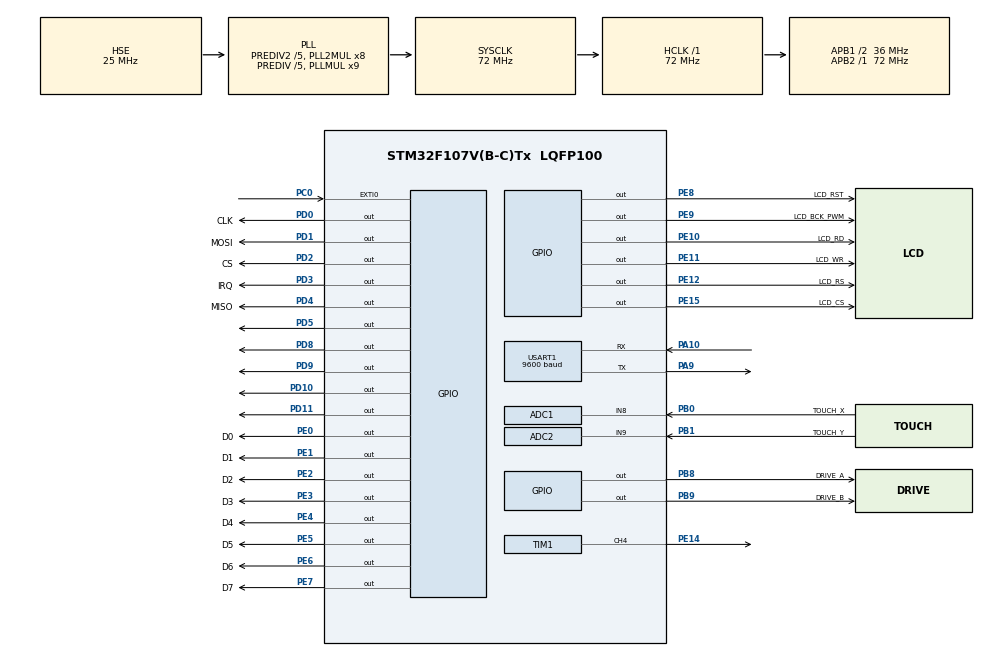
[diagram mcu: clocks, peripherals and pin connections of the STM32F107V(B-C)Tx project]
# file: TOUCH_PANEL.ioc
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ADC1.Channel-0\#ChannelRegularConversion=ADC_CHANNEL_8
ADC1.ExternalTrigConv=ADC_SOFTWARE_START
ADC1.InjNumberOfConversion=0
ADC1.NbrOfConversion=1
ADC1.NbrOfConversionFlag=1
ADC1.Rank-0\#ChannelRegularConversion=1
ADC1.SamplingTime-0\#ChannelRegularConversion=ADC_SAMPLETIME_1CYCLE_5
ADC1.master=1
ADC2.Channel-1\#ChannelRegularConversion=ADC_CHANNEL_9
ADC2.ExternalTrigConv=ADC_SOFTWARE_START
ADC2.NbrOfConversionFlag=1
ADC2.Rank-1\#ChannelRegularConversion=1
ADC2.SamplingTime-1\#ChannelRegularConversion=ADC_SAMPLETIME_1CYCLE_5
Mcu.Family=STM32F1
Mcu.Name=STM32F107V(B-C)Tx
Mcu.Package=LQFP100
NVIC.ADC1_2_IRQn=true\:0\:0\:false\:false\:true\:true\:true
NVIC.EXTI0_IRQn=true\:0\:0\:false\:false\:true\:true\:true
NVIC.PriorityGroup=NVIC_PRIORITYGROUP_4
NVIC.TIM6_IRQn=true\:0\:0\:false\:false\:true\:true\:true
NVIC.USART1_IRQn=true\:0\:0\:false\:false\:true\:true\:true
OSC_IN.Mode=HSE-External-Oscillator
OSC_IN.Signal=RCC_OSC_IN
OSC_OUT.Mode=HSE-External-Oscillator
OSC_OUT.Signal=RCC_OSC_OUT
PA10.Mode=Asynchronous
PA10.Signal=USART1_RX
PA13.Mode=Serial_Wire
PA13.Signal=SYS_JTMS-SWDIO
PA14.Mode=Serial_Wire
PA14.Signal=SYS_JTCK-SWCLK
PA9.Mode=Asynchronous
PA9.Signal=USART1_TX
PB0.GPIO_Label=TOUCH_X
PB0.Signal=ADCx_IN8
PB1.GPIO_Label=TOUCH_Y
PB1.Signal=ADCx_IN9
PB8.GPIO_Label=DRIVE_A
PB8.Signal=GPIO_Output
PB9.GPIO_Label=DRIVE_B
PB9.Signal=GPIO_Output
PC0.Signal=GPXTI0
PC14-OSC32_IN.Mode=LSE-External-Oscillator
PC14-OSC32_IN.Signal=RCC_OSC32_IN
PC15-OSC32_OUT.Mode=LSE-External-Oscillator
PC15-OSC32_OUT.Signal=RCC_OSC32_OUT
PD0.GPIO_Label=CLK
PD0.Signal=GPIO_Output
PD1.GPIO_Label=MOSI
PD1.Signal=GPIO_Output
PD10.Signal=GPIO_Output
PD11.Signal=GPIO_Output
PD2.GPIO_Label=CS
PD2.Signal=GPIO_Output
PD3.GPIO_Label=IRQ
PD3.Signal=GPIO_Output
PD4.GPIO_Label=MISO
PD4.Signal=GPIO_Output
PD5.Signal=GPIO_Output
PD8.Signal=GPIO_Output
PD9.Signal=GPIO_Output
PE0.GPIO_Label=D0
PE0.Signal=GPIO_Output
PE1.GPIO_Label=D1
PE1.Signal=GPIO_Output
PE10.GPIO_Label=LCD_RD
PE10.Signal=GPIO_Output
PE11.GPIO_Label=LCD_WR
PE11.Signal=GPIO_Output
PE12.GPIO_Label=LCD_RS
PE12.Signal=GPIO_Output
PE14.Signal=S_TIM1_CH4
PE15.GPIO_Label=LCD_CS
PE15.Signal=GPIO_Output
PE2.GPIO_Label=D2
PE2.Signal=GPIO_Output
PE3.GPIO_Label=D3
PE3.Signal=GPIO_Output
PE4.GPIO_Label=D4
PE4.Signal=GPIO_Output
PE5.GPIO_Label=D5
PE5.Signal=GPIO_Output
PE6.GPIO_Label=D6
PE6.Signal=GPIO_Output
PE7.GPIO_Label=D7
PE7.Signal=GPIO_Output
PE8.GPIO_Label=LCD_RST
PE8.Signal=GPIO_Output
PE9.GPIO_Label=LCD_BCK_PWM
PE9.Signal=GPIO_Output
ProjectManager.HeapSize=0x200
ProjectManager.StackSize=0x400
ProjectManager.TargetToolchain=MDK-ARM V5
RCC.ADCPresc=RCC_ADCPCLK2_DIV6
RCC.AHBFreq_Value=72000000
RCC.APB1CLKDivider=RCC_HCLK_DIV2
RCC.APB1Freq_Value=36000000
RCC.APB1TimFreq_Value=72000000
RCC.APB2Freq_Value=72000000
RCC.APB2TimFreq_Value=72000000
RCC.HCLKFreq_Value=72000000
RCC.HSEDivPLL=RCC_HSE_PREDIV_DIV5
RCC.HSE_VALUE=25000000
RCC.PLLMUL=RCC_PLL_MUL9
RCC.PLLSourceVirtual=RCC_PLLSOURCE_HSE
RCC.Prediv1Source=RCC_PREDIV1_SOURCE_PLL2
RCC.Prediv2=RCC_HSE_PREDIV2_DIV5
RCC.SYSCLKFreq_VALUE=72000000
RCC.SYSCLKSource=RCC_SYSCLKSOURCE_PLLCLK
RCC.USBFreq_Value=48000000
SH.ADCx_IN8.0=ADC1_IN8,IN8
SH.ADCx_IN9.0=ADC2_IN9,IN9
SH.S_TIM1_CH4.0=TIM1_CH4,PWM Generation4 CH4
TIM1.Channel-PWM\ Generation4\ CH4=TIM_CHANNEL_4
TIM1.Period=0xFFFF
TIM1.Prescaler=21
TIM1.Pulse-PWM\ Generation4\ CH4=50
TIM6.Period=65535
TIM6.Prescaler=15
USART1.BaudRate=9600
USART1.VirtualMode=VM_ASYNC
VP_TIM6_VS_ClockSourceINT.Mode=Enable_Timer
board=custom

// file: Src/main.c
/* USER CODE BEGIN Header */
/**
  ******************************************************************************
  * @file           : main.c
  * @brief          : Main program body
  ******************************************************************************
  * @attention
  *
  * <h2><center>&copy; Copyright (c) 2019 STMicroelectronics.
  * All rights reserved.</center></h2>
  *
  * This software component is licensed by ST under BSD 3-Clause license,
  * the "License"; You may not use this file except in compliance with the
  * License. You may obtain a copy of the License at:
  *                        opensource.org/licenses/BSD-3-Clause
  *
  ******************************************************************************
  */
/* USER CODE END Header */

#include "main.h"

/* USER CODE BEGIN Includes */
#include "touch.h"
#include <math.h>
#include "ILI9341_STM32_Driver.h"
#include "ILI9341_GFX.h"
#include <string.h>
#include <stdio.h>
#include <stdlib.h>

/* USER CODE END Includes */

/* USER CODE BEGIN PD */
uint32_t coor_x = 0;
uint32_t coor_y = 0;

/* USER CODE END PD */

ADC_HandleTypeDef hadc1;
ADC_HandleTypeDef hadc2;

TIM_HandleTypeDef htim1;
TIM_HandleTypeDef htim6;

UART_HandleTypeDef huart1;

/* USER CODE BEGIN PV */
uint8_t mode = 0;
int8_t path[100];
//	0 -> none
//	1 -> forward
//	2 -> backward
//	3 -> left
//  4 -> right
int counter = 0;

int distance = 0;

uint16_t arr = 1000;

/* USER CODE END PV */

void SystemClock_Config(void);
static void MX_GPIO_Init(void);
static void MX_ADC1_Init(void);
static void MX_ADC2_Init(void);
static void MX_TIM1_Init(void);
static void MX_TIM6_Init(void);
static void MX_USART1_UART_Init(void);

/* USER CODE BEGIN 0 */
void EASYMX_BOARD_TOUCH_CmpltCallback(uint32_t x, uint32_t y){
	if (x >= 50 && y >= 50 ) {
		coor_x = x;
		coor_y = y;
	} else {
		coor_x = 0;
		coor_y = 0;

		HAL_GPIO_WritePin(GPIOD, GPIO_PIN_8, GPIO_PIN_RESET);
		HAL_GPIO_WritePin(GPIOD, GPIO_PIN_9, GPIO_PIN_RESET);
		HAL_GPIO_WritePin(GPIOD, GPIO_PIN_10, GPIO_PIN_RESET);
		HAL_GPIO_WritePin(GPIOD, GPIO_PIN_11, GPIO_PIN_RESET);
	}
}

void goForward(void) {
		HAL_GPIO_WritePin(GPIOD, GPIO_PIN_8, GPIO_PIN_SET);
		HAL_GPIO_WritePin(GPIOD, GPIO_PIN_9, GPIO_PIN_RESET);
		HAL_GPIO_WritePin(GPIOD, GPIO_PIN_10, GPIO_PIN_SET);
		HAL_GPIO_WritePin(GPIOD, GPIO_PIN_11, GPIO_PIN_RESET);
		distance++;
		HAL_Delay(40);

}

void goBackward(void) {

		HAL_GPIO_WritePin(GPIOD, GPIO_PIN_8, GPIO_PIN_RESET);
		HAL_GPIO_WritePin(GPIOD, GPIO_PIN_9, GPIO_PIN_SET);
		HAL_GPIO_WritePin(GPIOD, GPIO_PIN_10, GPIO_PIN_RESET);
		HAL_GPIO_WritePin(GPIOD, GPIO_PIN_11, GPIO_PIN_SET);
		distance++;
		__HAL_TIM_SET_AUTORELOAD(&htim1, arr);//set the new period
		__HAL_TIM_SET_COMPARE(&htim1, TIM_CHANNEL_4, (int)arr/2);//keep 50% duty cycle

		HAL_Delay(40);
		__HAL_TIM_SET_COMPARE(&htim1, TIM_CHANNEL_4, 0);
}

void goLeft(void) {
		HAL_GPIO_WritePin(GPIOD, GPIO_PIN_8, GPIO_PIN_SET);
		HAL_GPIO_WritePin(GPIOD, GPIO_PIN_9, GPIO_PIN_RESET);
		HAL_GPIO_WritePin(GPIOD, GPIO_PIN_10, GPIO_PIN_RESET);
		HAL_GPIO_WritePin(GPIOD, GPIO_PIN_11, GPIO_PIN_SET);

		HAL_Delay(40);
}

void goRight(void) {

		HAL_GPIO_WritePin(GPIOD, GPIO_PIN_8, GPIO_PIN_RESET);
		HAL_GPIO_WritePin(GPIOD, GPIO_PIN_9, GPIO_PIN_SET);
		HAL_GPIO_WritePin(GPIOD, GPIO_PIN_10, GPIO_PIN_SET);
		HAL_GPIO_WritePin(GPIOD, GPIO_PIN_11, GPIO_PIN_RESET);

		HAL_Delay(40);

}

//char * toArray(int number)
//    {
//        int n = log10(number) + 1;
//        int i;
//      char *numberArray = calloc(n, sizeof(char));
//        for ( i = 0; i < n; ++i, number /= 10 )
//        {
//            numberArray[i] = (number % 10) + '0';
//        }
//        return numberArray;
//    }

/* USER CODE END 0 */

int main(void)
{

  /* MCU Configuration--------------------------------------------------------*/

  /* Reset of all peripherals, Initializes the Flash interface and the Systick. */
  HAL_Init();

  /* Configure the system clock */
  SystemClock_Config();

  /* Initialize all configured peripherals */
  MX_GPIO_Init();
  MX_ADC1_Init();
  MX_ADC2_Init();
  MX_TIM1_Init();
  MX_TIM6_Init();
  MX_USART1_UART_Init();
  /* USER CODE BEGIN 2 */
	EASYMX_BOARD_TOUCH_Init(&hadc1, &hadc2, &htim6);
	EASYMX_BOARD_TOUCH_Start();
	HAL_TIM_PWM_Start(&htim1,TIM_CHANNEL_4);
	ILI9341_Init();
  /* USER CODE END 2 */

  /* Infinite loop */
  /* USER CODE BEGIN WHILE */
		ILI9341_Fill_Screen(WHITE);
		ILI9341_Set_Rotation(SCREEN_HORIZONTAL_1);

		ILI9341_Draw_Hollow_Rectangle_Coord(110, 10, 210, 75, RED );
		ILI9341_Draw_Hollow_Rectangle_Coord(110, 160, 210, 225, RED );

		ILI9341_Draw_Hollow_Rectangle_Coord(10, 80, 90, 160, RED );
		ILI9341_Draw_Hollow_Rectangle_Coord(230, 80, 310, 160, RED );

	uint8_t pDataReceivedByte[] = "_";

		for( int i = 0; i < 100; i++ ){
			path[i] = 0;
		}

	while (1){

			int numberToTransmit = distance;
			uint8_t pDataTransmit[] = "Distance: 00000\r\n";
			int toPut = 14;
			while(numberToTransmit != 0){
				int digit = numberToTransmit % 10;
				pDataTransmit[toPut] = digit + (int)'0';
				numberToTransmit -= digit;
				numberToTransmit /= 10;
				toPut--;
			}

			char text[5];
			sprintf(text, "%d", distance);

			HAL_UART_Transmit_IT(&huart1, pDataTransmit, 17);
			ILI9341_Draw_Text(text, 150, 100, BLACK, 2, WHITE);
			if (mode == 0){

				for( int i = 0; i < counter; i++ ){
					int time = 0;
					switch (path[i]) {
						case 1:
								while (time < 10 ) {
									goForward();
									time++;
								}
								HAL_Delay(500);
								break;
						case 2:
								while (time < 10 ) {
									goBackward();
									time++;
								}
								HAL_Delay(500);
								break;
						case 3:
								while (time < 5 ) {
									goLeft();
									time++;
								}
								HAL_Delay(500);
								break;
						case 4:
								while (time < 5 ) {
									goRight();
									time++;
								}
								HAL_Delay(500);
								break;
					}
					HAL_GPIO_WritePin(GPIOD, GPIO_PIN_8, GPIO_PIN_RESET);
					HAL_GPIO_WritePin(GPIOD, GPIO_PIN_9, GPIO_PIN_RESET);
					HAL_GPIO_WritePin(GPIOD, GPIO_PIN_10, GPIO_PIN_RESET);
					HAL_GPIO_WritePin(GPIOD, GPIO_PIN_11, GPIO_PIN_RESET);
					path[i] = 0;
				}
				counter = 0;
			}

		HAL_UART_Receive_IT(&huart1, pDataReceivedByte, 1);

		if ( (coor_x >= 1400 && coor_x <= 2400) || pDataReceivedByte[0] == 'w' || pDataReceivedByte[0] == 's' ) {

				if ((coor_y >= 300 && coor_y <= 1350) || pDataReceivedByte[0] == 's' ) {
							ILI9341_Draw_Filled_Rectangle_Coord(230, 80, 310, 160, RED);
					if(!mode) {
							goBackward();
						} else {
							path[counter] = 2;
							counter++;
							__HAL_TIM_SET_AUTORELOAD(&htim1, arr);//set the new period
							__HAL_TIM_SET_COMPARE(&htim1, TIM_CHANNEL_4, (int)arr/2);//keep 50% duty cycle
							HAL_Delay(800);
							__HAL_TIM_SET_COMPARE(&htim1, TIM_CHANNEL_4, 0);
						}
				} else if ( coor_y >= 2800  || pDataReceivedByte[0] == 'w' ) {
							ILI9341_Draw_Filled_Rectangle_Coord(10, 80, 90, 160, RED);
					if(!mode) {
							goForward();
						} else {
							path[counter] = 1;
							counter++;
							__HAL_TIM_SET_AUTORELOAD(&htim1, arr);//set the new period
							__HAL_TIM_SET_COMPARE(&htim1, TIM_CHANNEL_4, (int)arr/2);//keep 50% duty cycle
							HAL_Delay(800);
							__HAL_TIM_SET_COMPARE(&htim1, TIM_CHANNEL_4, 0);
						}
				}
		}

		if ( (coor_y >= 1450 && coor_y <= 2700 ) || pDataReceivedByte[0] == 'a' || pDataReceivedByte[0] == 'd') {

				if ((coor_x >= 300 && coor_x <= 1300) || pDataReceivedByte[0] == 'a'  ) {				// TURN LEFT
						ILI9341_Draw_Filled_Rectangle_Coord(110, 160, 210, 225, RED );
						if(!mode) {
							goLeft();
						} else {
							path[counter] = 3;
							counter++;
							__HAL_TIM_SET_AUTORELOAD(&htim1, arr);//set the new period
							__HAL_TIM_SET_COMPARE(&htim1, TIM_CHANNEL_4, (int)arr/2);//keep 50% duty cycle
							HAL_Delay(800);
							__HAL_TIM_SET_COMPARE(&htim1, TIM_CHANNEL_4, 0);
						}

				} else if ( coor_x >= 2500 || pDataReceivedByte[0] == 'd'  ) {
						ILI9341_Draw_Filled_Rectangle_Coord(110, 10, 210, 75, RED );

						if(!mode) {
							goRight();
						} else {
							path[counter] = 4;
							counter++;
							__HAL_TIM_SET_AUTORELOAD(&htim1, arr);//set the new period
							__HAL_TIM_SET_COMPARE(&htim1, TIM_CHANNEL_4, (int)arr/2);//keep 50% duty cycle
							HAL_Delay(800);
							__HAL_TIM_SET_COMPARE(&htim1, TIM_CHANNEL_4, 0);
						}
				}
		}

		ILI9341_Draw_Filled_Rectangle_Coord(111, 11, 209, 74, WHITE );
		ILI9341_Draw_Filled_Rectangle_Coord(111, 161, 209, 224, WHITE);

		ILI9341_Draw_Filled_Rectangle_Coord(11, 81, 89, 159, WHITE );
		ILI9341_Draw_Filled_Rectangle_Coord(231, 81, 309, 159, WHITE );

		__HAL_TIM_SET_COMPARE(&htim1, TIM_CHANNEL_4, 0);
		pDataReceivedByte[0] = '_';
    /* USER CODE END WHILE */

  }
}

void SystemClock_Config(void)
{
  RCC_OscInitTypeDef RCC_OscInitStruct = {0};
  RCC_ClkInitTypeDef RCC_ClkInitStruct = {0};
  RCC_PeriphCLKInitTypeDef PeriphClkInit = {0};

  /** Initializes the CPU, AHB and APB busses clocks
  */
  RCC_OscInitStruct.OscillatorType = RCC_OSCILLATORTYPE_HSE;
  RCC_OscInitStruct.HSEState = RCC_HSE_ON;
  RCC_OscInitStruct.HSEPredivValue = RCC_HSE_PREDIV_DIV5;
  RCC_OscInitStruct.HSIState = RCC_HSI_ON;
  RCC_OscInitStruct.Prediv1Source = RCC_PREDIV1_SOURCE_PLL2;
  RCC_OscInitStruct.PLL.PLLState = RCC_PLL_ON;
  RCC_OscInitStruct.PLL.PLLSource = RCC_PLLSOURCE_HSE;
  RCC_OscInitStruct.PLL.PLLMUL = RCC_PLL_MUL9;
  RCC_OscInitStruct.PLL2.PLL2State = RCC_PLL2_ON;
  RCC_OscInitStruct.PLL2.PLL2MUL = RCC_PLL2_MUL8;
  RCC_OscInitStruct.PLL2.HSEPrediv2Value = RCC_HSE_PREDIV2_DIV5;
  if (HAL_RCC_OscConfig(&RCC_OscInitStruct) != HAL_OK)
  {
    Error_Handler();
  }
  /** Initializes the CPU, AHB and APB busses clocks
  */
  RCC_ClkInitStruct.ClockType = RCC_CLOCKTYPE_HCLK|RCC_CLOCKTYPE_SYSCLK
                              |RCC_CLOCKTYPE_PCLK1|RCC_CLOCKTYPE_PCLK2;
  RCC_ClkInitStruct.SYSCLKSource = RCC_SYSCLKSOURCE_PLLCLK;
  RCC_ClkInitStruct.AHBCLKDivider = RCC_SYSCLK_DIV1;
  RCC_ClkInitStruct.APB1CLKDivider = RCC_HCLK_DIV2;
  RCC_ClkInitStruct.APB2CLKDivider = RCC_HCLK_DIV1;

  if (HAL_RCC_ClockConfig(&RCC_ClkInitStruct, FLASH_LATENCY_2) != HAL_OK)
  {
    Error_Handler();
  }
  PeriphClkInit.PeriphClockSelection = RCC_PERIPHCLK_ADC;
  PeriphClkInit.AdcClockSelection = RCC_ADCPCLK2_DIV6;
  if (HAL_RCCEx_PeriphCLKConfig(&PeriphClkInit) != HAL_OK)
  {
    Error_Handler();
  }
  /** Configure the Systick interrupt time
  */
  __HAL_RCC_PLLI2S_ENABLE();
}

static void MX_ADC1_Init(void)
{

  ADC_ChannelConfTypeDef sConfig = {0};

  /** Common config
  */
  hadc1.Instance = ADC1;
  hadc1.Init.ScanConvMode = ADC_SCAN_DISABLE;
  hadc1.Init.ContinuousConvMode = DISABLE;
  hadc1.Init.DiscontinuousConvMode = DISABLE;
  hadc1.Init.ExternalTrigConv = ADC_SOFTWARE_START;
  hadc1.Init.DataAlign = ADC_DATAALIGN_RIGHT;
  hadc1.Init.NbrOfConversion = 1;
  if (HAL_ADC_Init(&hadc1) != HAL_OK)
  {
    Error_Handler();
  }
  /** Configure Regular Channel
  */
  sConfig.Channel = ADC_CHANNEL_8;
  sConfig.Rank = ADC_REGULAR_RANK_1;
  sConfig.SamplingTime = ADC_SAMPLETIME_1CYCLE_5;
  if (HAL_ADC_ConfigChannel(&hadc1, &sConfig) != HAL_OK)
  {
    Error_Handler();
  }

}

static void MX_ADC2_Init(void)
{

  ADC_ChannelConfTypeDef sConfig = {0};

  /** Common config
  */
  hadc2.Instance = ADC2;
  hadc2.Init.ScanConvMode = ADC_SCAN_DISABLE;
  hadc2.Init.ContinuousConvMode = DISABLE;
  hadc2.Init.DiscontinuousConvMode = DISABLE;
  hadc2.Init.ExternalTrigConv = ADC_SOFTWARE_START;
  hadc2.Init.DataAlign = ADC_DATAALIGN_RIGHT;
  hadc2.Init.NbrOfConversion = 1;
  if (HAL_ADC_Init(&hadc2) != HAL_OK)
  {
    Error_Handler();
  }
  /** Configure Regular Channel
  */
  sConfig.Channel = ADC_CHANNEL_9;
  sConfig.Rank = ADC_REGULAR_RANK_1;
  sConfig.SamplingTime = ADC_SAMPLETIME_1CYCLE_5;
  if (HAL_ADC_ConfigChannel(&hadc2, &sConfig) != HAL_OK)
  {
    Error_Handler();
  }

}

static void MX_TIM1_Init(void)
{

  TIM_MasterConfigTypeDef sMasterConfig = {0};
  TIM_OC_InitTypeDef sConfigOC = {0};
  TIM_BreakDeadTimeConfigTypeDef sBreakDeadTimeConfig = {0};

  htim1.Instance = TIM1;
  htim1.Init.Prescaler = 21;
  htim1.Init.CounterMode = TIM_COUNTERMODE_UP;
  htim1.Init.Period = 0xFFFF;
  htim1.Init.ClockDivision = TIM_CLOCKDIVISION_DIV1;
  htim1.Init.RepetitionCounter = 0;
  htim1.Init.AutoReloadPreload = TIM_AUTORELOAD_PRELOAD_DISABLE;
  if (HAL_TIM_PWM_Init(&htim1) != HAL_OK)
  {
    Error_Handler();
  }
  sMasterConfig.MasterOutputTrigger = TIM_TRGO_RESET;
  sMasterConfig.MasterSlaveMode = TIM_MASTERSLAVEMODE_DISABLE;
  if (HAL_TIMEx_MasterConfigSynchronization(&htim1, &sMasterConfig) != HAL_OK)
  {
    Error_Handler();
  }
  sConfigOC.OCMode = TIM_OCMODE_PWM1;
  sConfigOC.Pulse = 50;
  sConfigOC.OCPolarity = TIM_OCPOLARITY_HIGH;
  sConfigOC.OCFastMode = TIM_OCFAST_DISABLE;
  sConfigOC.OCIdleState = TIM_OCIDLESTATE_RESET;
  sConfigOC.OCNIdleState = TIM_OCNIDLESTATE_RESET;
  if (HAL_TIM_PWM_ConfigChannel(&htim1, &sConfigOC, TIM_CHANNEL_4) != HAL_OK)
  {
    Error_Handler();
  }
  sBreakDeadTimeConfig.OffStateRunMode = TIM_OSSR_DISABLE;
  sBreakDeadTimeConfig.OffStateIDLEMode = TIM_OSSI_DISABLE;
  sBreakDeadTimeConfig.LockLevel = TIM_LOCKLEVEL_OFF;
  sBreakDeadTimeConfig.DeadTime = 0;
  sBreakDeadTimeConfig.BreakState = TIM_BREAK_DISABLE;
  sBreakDeadTimeConfig.BreakPolarity = TIM_BREAKPOLARITY_HIGH;
  sBreakDeadTimeConfig.AutomaticOutput = TIM_AUTOMATICOUTPUT_DISABLE;
  if (HAL_TIMEx_ConfigBreakDeadTime(&htim1, &sBreakDeadTimeConfig) != HAL_OK)
  {
    Error_Handler();
  }
  HAL_TIM_MspPostInit(&htim1);

}

static void MX_TIM6_Init(void)
{

  TIM_MasterConfigTypeDef sMasterConfig = {0};

  htim6.Instance = TIM6;
  htim6.Init.Prescaler = 15;
  htim6.Init.CounterMode = TIM_COUNTERMODE_UP;
  htim6.Init.Period = 65535;
  htim6.Init.AutoReloadPreload = TIM_AUTORELOAD_PRELOAD_DISABLE;
  if (HAL_TIM_Base_Init(&htim6) != HAL_OK)
  {
    Error_Handler();
  }
  sMasterConfig.MasterOutputTrigger = TIM_TRGO_RESET;
  sMasterConfig.MasterSlaveMode = TIM_MASTERSLAVEMODE_DISABLE;
  if (HAL_TIMEx_MasterConfigSynchronization(&htim6, &sMasterConfig) != HAL_OK)
  {
    Error_Handler();
  }

}

static void MX_USART1_UART_Init(void)
{

  huart1.Instance = USART1;
  huart1.Init.BaudRate = 115200;
  huart1.Init.WordLength = UART_WORDLENGTH_8B;
  huart1.Init.StopBits = UART_STOPBITS_1;
  huart1.Init.Parity = UART_PARITY_NONE;
  huart1.Init.Mode = UART_MODE_TX_RX;
  huart1.Init.HwFlowCtl = UART_HWCONTROL_NONE;
  huart1.Init.OverSampling = UART_OVERSAMPLING_16;
  if (HAL_UART_Init(&huart1) != HAL_OK)
  {
    Error_Handler();
  }

}

static void MX_GPIO_Init(void)
{
  GPIO_InitTypeDef GPIO_InitStruct = {0};

  /* GPIO Ports Clock Enable */
  __HAL_RCC_GPIOE_CLK_ENABLE();
  __HAL_RCC_GPIOC_CLK_ENABLE();
  __HAL_RCC_GPIOB_CLK_ENABLE();
  __HAL_RCC_GPIOD_CLK_ENABLE();
  __HAL_RCC_GPIOA_CLK_ENABLE();

  /*Configure GPIO pin Output Level */
  HAL_GPIO_WritePin(GPIOE, D2_Pin|D3_Pin|D4_Pin|D5_Pin
                          |D6_Pin|D7_Pin|LCD_RST_Pin|LCD_BCK_PWM_Pin
                          |LCD_RD_Pin|LCD_WR_Pin|LCD_RS_Pin|LCD_CS_Pin
                          |D0_Pin|D1_Pin, GPIO_PIN_RESET);

  /*Configure GPIO pin Output Level */
  HAL_GPIO_WritePin(GPIOD, GPIO_PIN_8|GPIO_PIN_9|GPIO_PIN_10|GPIO_PIN_11
                          |CLK_Pin|MOSI_Pin|CS_Pin|IRQ_Pin
                          |MISO_Pin|GPIO_PIN_5, GPIO_PIN_RESET);

  /*Configure GPIO pin Output Level */
  HAL_GPIO_WritePin(GPIOB, DRIVE_A_Pin|DRIVE_B_Pin, GPIO_PIN_RESET);

  /*Configure GPIO pins : D2_Pin D3_Pin D4_Pin D5_Pin
                           D6_Pin D7_Pin LCD_RST_Pin LCD_BCK_PWM_Pin
                           LCD_RD_Pin LCD_WR_Pin LCD_RS_Pin LCD_CS_Pin
                           D0_Pin D1_Pin */
  GPIO_InitStruct.Pin = D2_Pin|D3_Pin|D4_Pin|D5_Pin
                          |D6_Pin|D7_Pin|LCD_RST_Pin|LCD_BCK_PWM_Pin
                          |LCD_RD_Pin|LCD_WR_Pin|LCD_RS_Pin|LCD_CS_Pin
                          |D0_Pin|D1_Pin;
  GPIO_InitStruct.Mode = GPIO_MODE_OUTPUT_PP;
  GPIO_InitStruct.Pull = GPIO_NOPULL;
  GPIO_InitStruct.Speed = GPIO_SPEED_FREQ_LOW;
  HAL_GPIO_Init(GPIOE, &GPIO_InitStruct);

  /*Configure GPIO pin : PC0 */
  GPIO_InitStruct.Pin = GPIO_PIN_0;
  GPIO_InitStruct.Mode = GPIO_MODE_IT_RISING;
  GPIO_InitStruct.Pull = GPIO_NOPULL;
  HAL_GPIO_Init(GPIOC, &GPIO_InitStruct);

  /*Configure GPIO pins : PD8 PD9 PD10 PD11
                           CLK_Pin MOSI_Pin CS_Pin IRQ_Pin
                           MISO_Pin PD5 */
  GPIO_InitStruct.Pin = GPIO_PIN_8|GPIO_PIN_9|GPIO_PIN_10|GPIO_PIN_11
                          |CLK_Pin|MOSI_Pin|CS_Pin|IRQ_Pin
                          |MISO_Pin|GPIO_PIN_5;
  GPIO_InitStruct.Mode = GPIO_MODE_OUTPUT_PP;
  GPIO_InitStruct.Pull = GPIO_NOPULL;
  GPIO_InitStruct.Speed = GPIO_SPEED_FREQ_LOW;
  HAL_GPIO_Init(GPIOD, &GPIO_InitStruct);

  /*Configure GPIO pins : DRIVE_A_Pin DRIVE_B_Pin */
  GPIO_InitStruct.Pin = DRIVE_A_Pin|DRIVE_B_Pin;
  GPIO_InitStruct.Mode = GPIO_MODE_OUTPUT_PP;
  GPIO_InitStruct.Pull = GPIO_NOPULL;
  GPIO_InitStruct.Speed = GPIO_SPEED_FREQ_LOW;
  HAL_GPIO_Init(GPIOB, &GPIO_InitStruct);

  /* EXTI interrupt init*/
  HAL_NVIC_SetPriority(EXTI0_IRQn, 0, 0);
  HAL_NVIC_EnableIRQ(EXTI0_IRQn);

}

/* USER CODE BEGIN 4 */
void HAL_GPIO_EXTI_Callback(uint16_t GPIO_Pin)
{
		if(GPIO_Pin==GPIO_PIN_0)
		{
				mode = !mode;
				distance = 0;
				ILI9341_Draw_Filled_Rectangle_Coord(150, 100, 200, 150, WHITE );
		}
}
/* USER CODE END 4 */

void Error_Handler(void)
{
}

/************************ (C) COPYRIGHT STMicroelectronics *****END OF FILE****/
